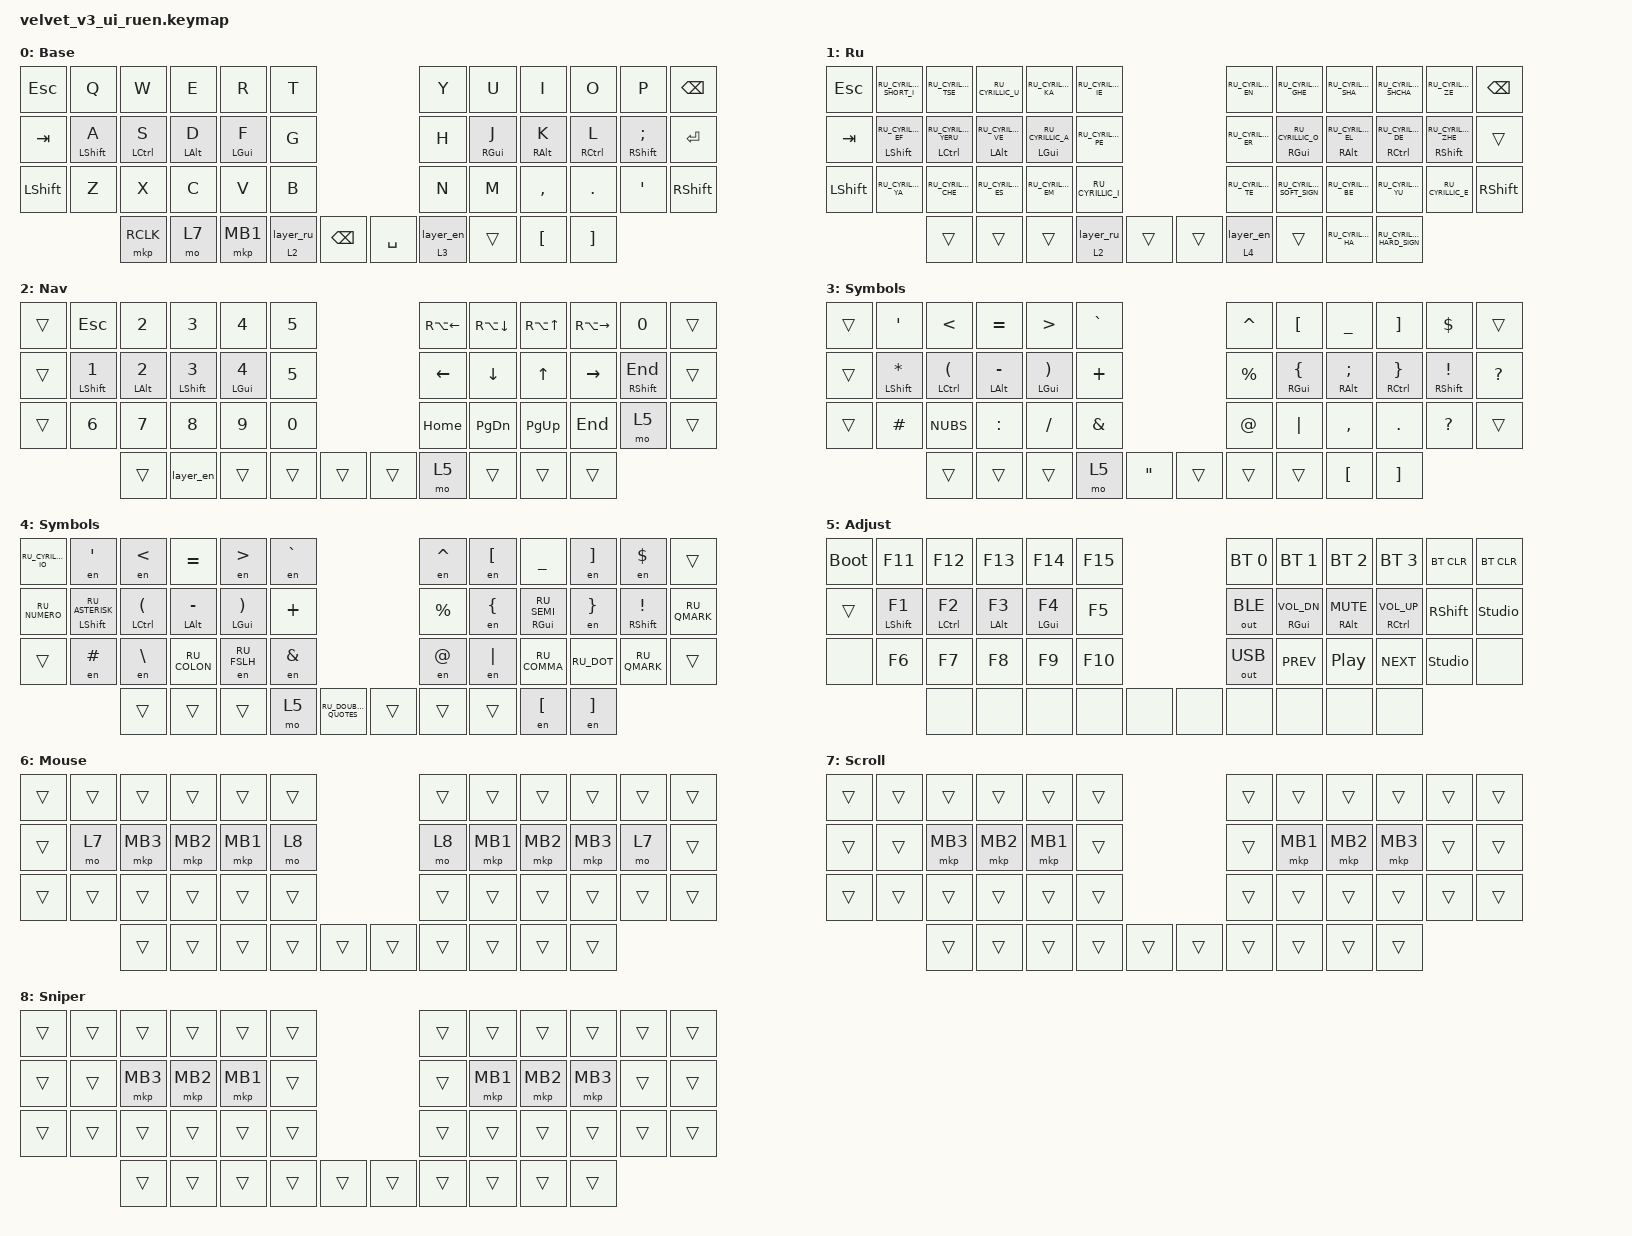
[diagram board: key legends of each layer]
#include "keys_ru.h"
#include <dt-bindings/zmk/input_transform.h>
#include <input/processors.dtsi>
#include <zephyr/dt-bindings/input/input-event-codes.h>
#include <behaviors.dtsi>
#include <dt-bindings/zmk/bt.h>
#include <dt-bindings/zmk/keys.h>
#include <dt-bindings/zmk/outputs.h>
#include <dt-bindings/zmk/pointing.h>

&mt {
    quick-tap-ms = <200>;
    flavor = "tap-preferred";
    require-prior-idle-ms = <125>;
};

/ {
    behaviors {
        hml: home_row_mod_left {
            compatible = "zmk,behavior-hold-tap";
            #binding-cells = <2>;
            flavor = "balanced";
            require-prior-idle-ms = <150>;
            tapping-term-ms = <280>;
            quick-tap-ms = <175>;
            bindings = <&kp>, <&kp>;

            hold-trigger-key-positions = <6 7 8 9 10 11 18 19 20 21 22 23 30 31 32 33 34 35 41 42 43 44 45>;
            hold-trigger-on-release;
        };

        hmr: home_row_mod_right {
            compatible = "zmk,behavior-hold-tap";
            #binding-cells = <2>;
            flavor = "balanced";
            require-prior-idle-ms = <150>;
            tapping-term-ms = <280>;
            quick-tap-ms = <175>;
            bindings = <&kp>, <&kp>;

            hold-trigger-key-positions = <0 1 2 3 4 5 12 13 14 15 16 17 24 25 26 27 28 29 36 37 38 39 40>;
            hold-trigger-on-release;
        };

        cap_sen: cap_sen {
            compatible = "zmk,behavior-hold-tap";
            label = "CAP_SEN";
            bindings = <&mo>, <&mkp>;

            #binding-cells = <2>;
            tapping-term-ms = <150>;
            hold-while-undecided;
        };

        mouse_layer: mouse_layer {
            compatible = "zmk,behavior-sticky-key";
            label = "MOUSE_LAYER";
            bindings = <&mo>;
            #binding-cells = <1>;
            release-after-ms = <200>;
        };

        zip_auto_mouse: zip_auto_mouse {
            compatible = "zmk,input-processor-temp-layer";
            #input-processor-cells = <2>;
            require-prior-idle-ms = <800>;
            excluded-positions = <>;
        };

        red_mo_ru: red_mo_ru {
            compatible = "zmk,behavior-hold-tap";
            label = "RED_MO_RU";
            bindings = <&mo>, <&layer_ru>;

            #binding-cells = <2>;
            tapping-term-ms = <200>;
            quick-tap-ms = <200>;
            hold-while-undecided;
        };

        blue_mo_en: blue_mo_en {
            compatible = "zmk,behavior-hold-tap";
            label = "BLUE_MO_EN";
            bindings = <&mo>, <&layer_en>;

            #binding-cells = <2>;
            tapping-term-ms = <200>;
            quick-tap-ms = <200>;
            hold-while-undecided;
        };
    };

    combos {
        compatible = "zmk,combos";

        cmben {
            bindings = <&layer_en>;
            key-positions = <3 4>;
            layers = <1>;
        };

        cmbru {
            bindings = <&layer_ru>;
            key-positions = <3 4>;
            layers = <0>;
        };

        kha {
            bindings = <&kp RU_CYRILLIC_HA>;
            key-positions = <7 8>;
            layers = <1>;
        };

        hrdsgn {
            bindings = <&kp RU_CYRILLIC_HARD_SIGN>;
            key-positions = <8 9>;
            layers = <1>;
        };

        pass {
            bindings = <&rgs_pass>;
            key-positions = <7 8 9 10>;
            layers = <1 0>;
        };

        round_brackets {
            bindings = <&pair_and_go_inside LPAR RPAR>;
            key-positions = <15 14>;
            layers = <3 4>;
        };

        curly_brackets {
            bindings = <&pair_and_go_inside LEFT_BRACE RIGHT_BRACE>;
            key-positions = <20 21>;
            layers = <3 4>;
        };

        angle_brackets {
            bindings = <&pair_and_go_inside LT GT>;
            key-positions = <4 2>;
            layers = <3 4>;
        };

        square_brackets {
            bindings = <&pair_and_go_inside LEFT_BRACKET RIGHT_BRACKET>;
            key-positions = <7 9>;
            layers = <3 4>;
        };

        remove_word_backspace {
            bindings = <&kp LA(BACKSPACE)>;
            key-positions = <38 39>;
            layers = <1 0>;
        };

        esc_combo {
            bindings = <&kp ESC>;
            key-positions = <37 38>;
        };
    };

    macros {
        to_ru: to_ru {
            compatible = "zmk,behavior-macro";
            #binding-cells = <0>;
            bindings = <&kp LS(LC(N2))>;
            label = "TO_RU";
            wait-ms = <0>;
            tap-ms = <30>;
        };

        to_en: to_en {
            compatible = "zmk,behavior-macro";
            #binding-cells = <0>;
            bindings = <&kp LS(LC(N1))>;
            label = "TO_EN";
            wait-ms = <0>;
            tap-ms = <30>;
        };

        layer_en: layer_en {
            compatible = "zmk,behavior-macro";
            #binding-cells = <0>;
            bindings = <&to 0 &to_en>;
            label = "LAYER_EN";
            wait-ms = <0>;
            tap-ms = <30>;
        };

        layer_ru: layer_ru {
            compatible = "zmk,behavior-macro";
            #binding-cells = <0>;
            bindings = <&to 1 &to_ru>;
            label = "LAYER_RU";
            tap-ms = <30>;
            wait-ms = <0>;
        };

        en: en {
            compatible = "zmk,behavior-macro-one-param";
            #binding-cells = <1>;
            bindings =
                <&to_en>,
                <&macro_press>,
                <&macro_param_1to1 &kp MACRO_PLACEHOLDER>,
                <&macro_pause_for_release>,
                <&macro_release>,
                <&macro_param_1to1 &kp MACRO_PLACEHOLDER>,
                <&macro_tap>,
                <&to_ru>;

            label = "EN";
            wait-ms = <0>;
            tap-ms = <30>;
        };

        pair_and_go_inside: pair_and_go_inside {
            compatible = "zmk,behavior-macro-two-param";
            #binding-cells = <2>;
            bindings = <&macro_param_1to1 &kp MACRO_PLACEHOLDER &macro_param_2to1 &kp MACRO_PLACEHOLDER &kp LEFT>;
            label = "PAIR_AND_GO_INSIDE";
        };

        rgs_pass: rgs_pass {
            compatible = "zmk,behavior-macro";
            #binding-cells = <0>;
            bindings = <&to_en &kp U &kp U &kp LS(S) &kp N4 &kp F &kp O &kp O &kp S &kp UNDER &kp LS(V) &kp LS(E) &kp R &kp G &kp S &kp N1>;
            label = "RGS_PASS";
        };
    };

    keymap {
        compatible = "zmk,keymap";

        en {
            bindings = <
&kp ESC    &kp Q         &kp W         &kp E        &kp R        &kp T                                       &kp Y            &kp U        &kp I        &kp O         &kp P                 &kp BSPC
&kp TAB    &hml LSHFT A  &hml LCTRL S  &hml LALT D  &hml LGUI F  &kp G                                       &kp H            &hmr RGUI J  &hmr RALT K  &hmr RCTRL L  &hmr RSHFT SEMICOLON  &kp ENTER
&kp LSHFT  &kp Z         &kp X         &kp C        &kp V        &kp B                                       &kp N            &kp M        &kp COMMA    &kp DOT       &kp SQT               &kp RSHFT
                         &mkp RCLK     &mo 7        &mkp MB1     &red_mo_ru 2 0  &kp BACKSPACE    &kp SPACE  &blue_mo_en 3 0  &trans       &kp LBKT     &kp RBKT
            >;

            display-name = "Base";
        };

        ru {
            display-name = "Ru";
            bindings = <
&kp ESC    &kp RU_CYRILLIC_SHORT_I    &kp RU_CYRILLIC_TSE          &kp RU_CYRILLIC_U         &kp RU_CYRILLIC_KA       &kp RU_CYRILLIC_IE                    &kp RU_CYRILLIC_EN  &kp RU_CYRILLIC_GHE        &kp RU_CYRILLIC_SHA       &kp RU_CYRILLIC_SHCHA      &kp RU_CYRILLIC_ZE          &kp BSPC
&kp TAB    &hml LSHFT RU_CYRILLIC_EF  &hml LCTRL RU_CYRILLIC_YERU  &hml LALT RU_CYRILLIC_VE  &hml LGUI RU_CYRILLIC_A  &kp RU_CYRILLIC_PE                    &kp RU_CYRILLIC_ER  &hmr RGUI RU_CYRILLIC_O    &hmr RALT RU_CYRILLIC_EL  &hmr RCTRL RU_CYRILLIC_DE  &hmr RSHFT RU_CYRILLIC_ZHE  &trans
&kp LSHFT  &kp RU_CYRILLIC_YA         &kp RU_CYRILLIC_CHE          &kp RU_CYRILLIC_ES        &kp RU_CYRILLIC_EM       &kp RU_CYRILLIC_I                     &kp RU_CYRILLIC_TE  &kp RU_CYRILLIC_SOFT_SIGN  &kp RU_CYRILLIC_BE        &kp RU_CYRILLIC_YU         &kp RU_CYRILLIC_E           &kp RSHFT
                                      &trans                       &trans                    &trans                   &red_mo_ru 2 0      &trans    &trans  &blue_mo_en 4 0     &trans                     &kp RU_CYRILLIC_HA        &kp RU_CYRILLIC_HARD_SIGN
            >;
        };

        nav {
            bindings = <
&trans  &kp ESC        &kp N2        &kp N3         &kp N4        &kp N5                          &kp RA(LEFT)  &kp RA(DOWN)   &kp RA(UP)   &kp RA(RIGHT)  &kp N0          &trans
&trans  &hml LSHFT N1  &hml LALT N2  &hml LSHFT N3  &hml LGUI N4  &kp NUMBER_5                    &kp LEFT      &kp DOWN       &kp UP       &kp RIGHT      &hmr RSHFT END  &trans
&trans  &kp N6         &kp N7        &kp N8         &kp N9        &kp N0                          &kp HOME      &kp PAGE_DOWN  &kp PAGE_UP  &kp END        &mo 5           &trans
                       &trans        &layer_en      &trans        &trans        &trans    &trans  &mo 5         &trans         &trans       &trans
            >;

            display-name = "Nav";
        };

        sym_en {
            bindings = <
&trans  &kp SINGLE_QUOTE  &kp LT           &kp EQUAL        &kp GT          &kp GRAVE                               &kp CARET  &kp LBKT        &kp UNDER       &kp RBKT         &kp DLLR         &trans
&trans  &hml LSHFT STAR   &hml LCTRL LPAR  &hml LALT MINUS  &hml LGUI RPAR  &kp PLUS                                &kp PRCNT  &hmr RGUI LBRC  &hmr RALT SEMI  &hmr RCTRL RBRC  &hmr RSHFT EXCL  &kp QUESTION
&trans  &kp HASH          &kp NUBS         &kp COLON        &kp FSLH        &kp AMPS                                &kp AT     &kp PIPE        &kp COMMA       &kp DOT          &kp QMARK        &trans
                          &trans           &trans           &trans          &mo 5      &kp DOUBLE_QUOTES    &trans  &trans     &trans          &kp LBKT        &kp RBKT
            >;

            display-name = "Symbols";
        };

        sym_ru {
            display-name = "Symbols";
            bindings = <
&kp RU_CYRILLIC_IO  &en SINGLE_QUOTE        &en LT           &kp EQUAL        &en GT          &en GRAVE                                  &en CARET  &en LBKT  &kp UNDER          &en RBKT    &en DLLR         &trans
&kp RU_NUMERO       &hml LSHFT RU_ASTERISK  &hml LCTRL LPAR  &hml LALT MINUS  &hml LGUI RPAR  &kp PLUS                                   &kp PRCNT  &en LBRC  &hmr RGUI RU_SEMI  &en RBRC    &hmr RSHFT EXCL  &kp RU_QMARK
&trans              &en HASH                &en BSLH         &kp RU_COLON     &en RU_FSLH     &en AMPS                                   &en AT     &en PIPE  &kp RU_COMMA       &kp RU_DOT  &kp RU_QMARK     &trans
                                            &trans           &trans           &trans          &mo 5      &kp RU_DOUBLE_QUOTES    &trans  &trans     &trans    &en LBKT           &en RBKT
            >;
        };

        adj {
            bindings = <
&bootloader  &kp F11        &kp F12        &kp F13       &kp F14       &kp F15                  &bt BT_SEL 0  &bt BT_SEL 1        &bt BT_SEL 2      &bt BT_SEL 3         &bt BT_CLR      &bt BT_CLR
&trans       &hml LSHFT F1  &hml LCTRL F2  &hml LALT F3  &hml LGUI F4  &kp F5                   &out OUT_BLE  &hmr RGUI C_VOL_DN  &hmr RALT C_MUTE  &hmr RCTRL C_VOL_UP  &kp RSHFT       &studio_unlock
&none        &kp F6         &kp F7         &kp F8        &kp F9        &kp F10                  &out OUT_USB  &kp C_PREV          &kp C_PP          &kp C_NEXT           &studio_unlock  &none
                            &none          &none         &none         &none    &none    &none  &none         &none               &none             &none
            >;

            display-name = "Adjust";
        };

        mouse {
            bindings = <
&trans  &trans  &trans    &trans    &trans    &trans                    &trans  &trans    &trans    &trans    &trans  &trans
&trans  &mo 7   &mkp MB3  &mkp MB2  &mkp MB1  &mo 8                     &mo 8   &mkp MB1  &mkp MB2  &mkp MB3  &mo 7   &trans
&trans  &trans  &trans    &trans    &trans    &trans                    &trans  &trans    &trans    &trans    &trans  &trans
                &trans    &trans    &trans    &trans  &trans    &trans  &trans  &trans    &trans    &trans
            >;

            display-name = "Mouse";
        };

        scroll {
            bindings = <
&trans  &trans  &trans    &trans    &trans    &trans                    &trans  &trans    &trans    &trans    &trans  &trans
&trans  &trans  &mkp MB3  &mkp MB2  &mkp MB1  &trans                    &trans  &mkp MB1  &mkp MB2  &mkp MB3  &trans  &trans
&trans  &trans  &trans    &trans    &trans    &trans                    &trans  &trans    &trans    &trans    &trans  &trans
                &trans    &trans    &trans    &trans  &trans    &trans  &trans  &trans    &trans    &trans
            >;

            display-name = "Scroll";
        };

        sniper {
            bindings = <
&trans  &trans  &trans    &trans    &trans    &trans                    &trans  &trans    &trans    &trans    &trans  &trans
&trans  &trans  &mkp MB3  &mkp MB2  &mkp MB1  &trans                    &trans  &mkp MB1  &mkp MB2  &mkp MB3  &trans  &trans
&trans  &trans  &trans    &trans    &trans    &trans                    &trans  &trans    &trans    &trans    &trans  &trans
                &trans    &trans    &trans    &trans  &trans    &trans  &trans  &trans    &trans    &trans
            >;

            display-name = "Sniper";
        };
    };
};

&trackball { cpi = <1000>; };

&trackball_listener {
    input-processors = <&zip_auto_mouse 6 500>, <&zip_xy_scaler 9 20>;

    scroller {
        layers = <2>;
        input-processors =
            <&zip_xy_transform INPUT_TRANSFORM_Y_INVERT>,
            <&zip_xy_scaler 1 32>,
            <&zip_xy_to_scroll_mapper>;
    };

    sniper {
        layers = <8>;
        input-processors = <&zip_xy_scaler 1 4>;
    };
};
